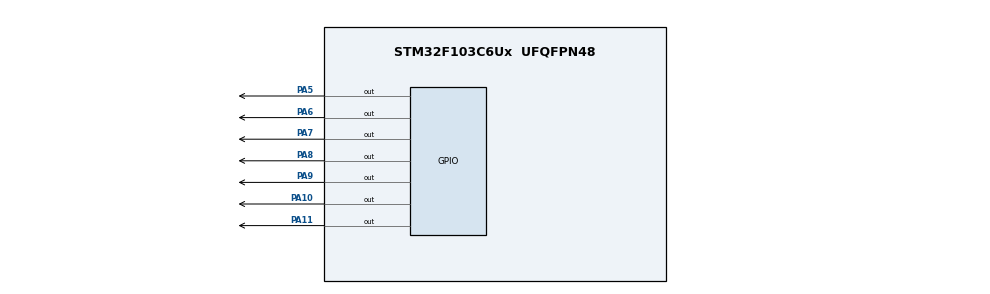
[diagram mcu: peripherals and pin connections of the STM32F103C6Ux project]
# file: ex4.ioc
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Mcu.Family=STM32F1
Mcu.Name=STM32F103C6Ux
Mcu.Package=UFQFPN48
NVIC.PriorityGroup=NVIC_PRIORITYGROUP_4
PA10.Signal=GPIO_Output
PA11.Signal=GPIO_Output
PA5.Signal=GPIO_Output
PA6.Signal=GPIO_Output
PA7.Signal=GPIO_Output
PA8.Signal=GPIO_Output
PA9.Signal=GPIO_Output
ProjectManager.HeapSize=0x200
ProjectManager.StackSize=0x400
ProjectManager.TargetToolchain=STM32CubeIDE
RCC.APB1Freq_Value=8000000
RCC.APB2Freq_Value=8000000
VP_SYS_VS_ND.Mode=No_Debug
board=custom

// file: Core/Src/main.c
/* USER CODE BEGIN Header */
/**
  ******************************************************************************
  * @file           : main.c
  * @brief          : Main program body
  ******************************************************************************
  * @attention
  *
  * <h2><center>&copy; Copyright (c) 2026 STMicroelectronics.
  * All rights reserved.</center></h2>
  *
  * This software component is licensed by ST under BSD 3-Clause license,
  * the "License"; You may not use this file except in compliance with the
  * License. You may obtain a copy of the License at:
  *                        opensource.org/licenses/BSD-3-Clause
  *
  ******************************************************************************
  */
/* USER CODE END Header */
#include "main.h"

void SystemClock_Config(void);
static void MX_GPIO_Init(void);
/* USER CODE BEGIN PFP */
void display7SEG(int num);

/* USER CODE END PFP */

int main(void)
{
  /* USER CODE BEGIN 1 */
	int counter = 0;
  /* USER CODE END 1 */

  /* MCU Configuration--------------------------------------------------------*/

  /* Reset of all peripherals, Initializes the Flash interface and the Systick. */
  HAL_Init();

  /* Configure the system clock */
  SystemClock_Config();

  /* Initialize all configured peripherals */
  MX_GPIO_Init();

  /* Infinite loop */
  /* USER CODE BEGIN WHILE */
  while (1)
  {
	  if(counter >= 10) counter = 0;
	  display7SEG(counter++);
	  HAL_Delay(1000);
    /* USER CODE END WHILE */

  }
}

void SystemClock_Config(void)
{
  RCC_OscInitTypeDef RCC_OscInitStruct = {0};
  RCC_ClkInitTypeDef RCC_ClkInitStruct = {0};

  /** Initializes the RCC Oscillators according to the specified parameters
  * in the RCC_OscInitTypeDef structure.
  */
  RCC_OscInitStruct.OscillatorType = RCC_OSCILLATORTYPE_HSI;
  RCC_OscInitStruct.HSIState = RCC_HSI_ON;
  RCC_OscInitStruct.HSICalibrationValue = RCC_HSICALIBRATION_DEFAULT;
  RCC_OscInitStruct.PLL.PLLState = RCC_PLL_NONE;
  if (HAL_RCC_OscConfig(&RCC_OscInitStruct) != HAL_OK)
  {
    Error_Handler();
  }
  /** Initializes the CPU, AHB and APB buses clocks
  */
  RCC_ClkInitStruct.ClockType = RCC_CLOCKTYPE_HCLK|RCC_CLOCKTYPE_SYSCLK
                              |RCC_CLOCKTYPE_PCLK1|RCC_CLOCKTYPE_PCLK2;
  RCC_ClkInitStruct.SYSCLKSource = RCC_SYSCLKSOURCE_HSI;
  RCC_ClkInitStruct.AHBCLKDivider = RCC_SYSCLK_DIV1;
  RCC_ClkInitStruct.APB1CLKDivider = RCC_HCLK_DIV1;
  RCC_ClkInitStruct.APB2CLKDivider = RCC_HCLK_DIV1;

  if (HAL_RCC_ClockConfig(&RCC_ClkInitStruct, FLASH_LATENCY_0) != HAL_OK)
  {
    Error_Handler();
  }
}

static void MX_GPIO_Init(void)
{
  GPIO_InitTypeDef GPIO_InitStruct = {0};

  /* GPIO Ports Clock Enable */
  __HAL_RCC_GPIOA_CLK_ENABLE();

  /*Configure GPIO pin Output Level */
  HAL_GPIO_WritePin(GPIOA, GPIO_PIN_5|GPIO_PIN_6|GPIO_PIN_7|GPIO_PIN_8
                          |GPIO_PIN_9|GPIO_PIN_10|GPIO_PIN_11, GPIO_PIN_RESET);

  /*Configure GPIO pins : PA5 PA6 PA7 PA8
                           PA9 PA10 PA11 */
  GPIO_InitStruct.Pin = GPIO_PIN_5|GPIO_PIN_6|GPIO_PIN_7|GPIO_PIN_8
                          |GPIO_PIN_9|GPIO_PIN_10|GPIO_PIN_11;
  GPIO_InitStruct.Mode = GPIO_MODE_OUTPUT_PP;
  GPIO_InitStruct.Pull = GPIO_NOPULL;
  GPIO_InitStruct.Speed = GPIO_SPEED_FREQ_LOW;
  HAL_GPIO_Init(GPIOA, &GPIO_InitStruct);

}

/* USER CODE BEGIN 4 */
void display7SEG(int num) {
    uint8_t seg_data[10] = {0xC0, 0xF9, 0xA4, 0xB0, 0x99, 0x92, 0x82, 0xF8, 0x80, 0x90};

    if (num < 0 || num > 9) return;

    uint8_t data = seg_data[num];

    // Dịch bit để xuất tín hiệu ra chân tương ứng trên Port A
    HAL_GPIO_WritePin(GPIOA, GPIO_PIN_11, (data >> 0) & 1); // a
    HAL_GPIO_WritePin(GPIOA, GPIO_PIN_10, (data >> 1) & 1); // b
    HAL_GPIO_WritePin(GPIOA, GPIO_PIN_9,  (data >> 2) & 1); // c
    HAL_GPIO_WritePin(GPIOA, GPIO_PIN_8,  (data >> 3) & 1); // d
    HAL_GPIO_WritePin(GPIOA, GPIO_PIN_7,  (data >> 4) & 1); // e
    HAL_GPIO_WritePin(GPIOA, GPIO_PIN_6,  (data >> 5) & 1); // f
    HAL_GPIO_WritePin(GPIOA, GPIO_PIN_5,  (data >> 6) & 1); // g
}
/* USER CODE END 4 */

void Error_Handler(void)
{
  __disable_irq();
  while (1)
  {
  }
}

/************************ (C) COPYRIGHT STMicroelectronics *****END OF FILE****/
